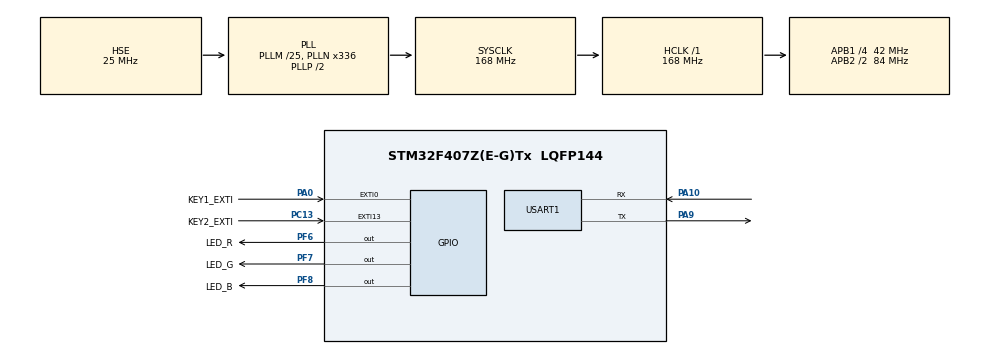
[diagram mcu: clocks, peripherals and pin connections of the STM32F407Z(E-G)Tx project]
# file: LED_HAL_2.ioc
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Mcu.Family=STM32F4
Mcu.Name=STM32F407Z(E-G)Tx
Mcu.Package=LQFP144
NVIC.EXTI0_IRQn=true\:12\:0\:true\:false\:true\:true\:true\:true
NVIC.EXTI15_10_IRQn=true\:11\:0\:true\:false\:true\:true\:true\:true
NVIC.PriorityGroup=NVIC_PRIORITYGROUP_4
NVIC.TIM6_DAC_IRQn=true\:14\:0\:true\:false\:true\:true\:true\:true
NVIC.USART1_IRQn=true\:13\:0\:true\:false\:true\:true\:true\:true
PA0-WKUP.GPIO_Label=KEY1_EXTI
PA0-WKUP.GPIO_ModeDefaultEXTI=GPIO_MODE_IT_RISING
PA0-WKUP.Signal=GPXTI0
PA10.GPIO_PuPd=GPIO_PULLUP
PA10.Mode=Asynchronous
PA10.Signal=USART1_RX
PA13.Mode=Serial_Wire
PA13.Signal=SYS_JTMS-SWDIO
PA14.Mode=Serial_Wire
PA14.Signal=SYS_JTCK-SWCLK
PA9.GPIO_PuPd=GPIO_PULLUP
PA9.Mode=Asynchronous
PA9.Signal=USART1_TX
PC13-ANTI_TAMP.GPIO_Label=KEY2_EXTI
PC13-ANTI_TAMP.Signal=GPXTI13
PF6.GPIO_Label=LED_R
PF6.GPIO_ModeDefaultOutputPP=GPIO_MODE_OUTPUT_OD
PF6.GPIO_PuPd=GPIO_NOPULL
PF6.Signal=GPIO_Output
PF7.GPIO_Label=LED_G
PF7.GPIO_ModeDefaultOutputPP=GPIO_MODE_OUTPUT_OD
PF7.GPIO_PuPd=GPIO_NOPULL
PF7.Signal=GPIO_Output
PF8.GPIO_Label=LED_B
PF8.GPIO_ModeDefaultOutputPP=GPIO_MODE_OUTPUT_OD
PF8.GPIO_PuPd=GPIO_NOPULL
PF8.Signal=GPIO_Output
PH0-OSC_IN.Mode=HSE-External-Oscillator
PH0-OSC_IN.Signal=RCC_OSC_IN
PH1-OSC_OUT.Mode=HSE-External-Oscillator
PH1-OSC_OUT.Signal=RCC_OSC_OUT
ProjectManager.HeapSize=0x200
ProjectManager.StackSize=0x400
ProjectManager.TargetToolchain=MDK-ARM V5.32
RCC.48MHZClocksFreq_Value=84000000
RCC.AHBFreq_Value=168000000
RCC.APB1CLKDivider=RCC_HCLK_DIV4
RCC.APB1Freq_Value=42000000
RCC.APB1TimFreq_Value=84000000
RCC.APB2CLKDivider=RCC_HCLK_DIV2
RCC.APB2Freq_Value=84000000
RCC.APB2TimFreq_Value=168000000
RCC.CortexFreq_Value=168000000
RCC.HCLKFreq_Value=168000000
RCC.HSE_VALUE=25000000
RCC.HSI_VALUE=16000000
RCC.LSE_VALUE=32768
RCC.PLLM=25
RCC.PLLN=336
RCC.PLLSourceVirtual=RCC_PLLSOURCE_HSE
RCC.SYSCLKFreq_VALUE=168000000
RCC.SYSCLKSource=RCC_SYSCLKSOURCE_PLLCLK
RCC.VCOOutputFreq_Value=336000000
TIM6.Period=5000-1
TIM6.Prescaler=8400-1
USART1.VirtualMode=VM_ASYNC
VP_TIM6_VS_ClockSourceINT.Mode=Enable_Timer
board=custom

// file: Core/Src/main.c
/* USER CODE BEGIN Header */
/**
  ******************************************************************************
  * @file           : main.c
  * @brief          : Main program body
  ******************************************************************************
  * @attention
  *
  * Copyright (c) 2023 STMicroelectronics.
  * All rights reserved.
  *
  * This software is licensed under terms that can be found in the LICENSE file
  * in the root directory of this software component.
  * If no LICENSE file comes with this software, it is provided AS-IS.
  *
  ******************************************************************************
  */
/* USER CODE END Header */
#include "main.h"
#include "tim.h"
#include "usart.h"
#include "gpio.h"

/* USER CODE BEGIN PV */
uint8_t *TxBuffer;
//uint8_t Buffer[10];
//uint8_t ReBuffer[10];
//uint8_t ch;
extern uint8_t aRxBuffer;	//��������
extern char RxBuffer[RXBUFFERSIZE];
/* USER CODE END PV */

void SystemClock_Config(void);

int main(void)
{

  /* MCU Configuration--------------------------------------------------------*/

  /* Reset of all peripherals, Initializes the Flash interface and the Systick. */
  HAL_Init();

  /* Configure the system clock */
  SystemClock_Config();

  /* Initialize all configured peripherals */
  MX_GPIO_Init();
  MX_USART1_UART_Init();
  MX_TIM6_Init();
  /* USER CODE BEGIN 2 */
//	HAL_UART_Receive_IT(&huart1, (uint8_t *)Buffer, 10);
	HAL_UART_Receive_IT(&huart1, (uint8_t *)&aRxBuffer, 1);
	HAL_TIM_Base_Start_IT(&htim6);

  /* USER CODE END 2 */

  /* Infinite loop */
  /* USER CODE BEGIN WHILE */
  while (1)
  {
//			Usart_SendString((uint8_t *)ch);
//		Usart1_SendBuffer(ReBuffer, 10);
//		printf("%d",*RxBuffer);
//
//		HAL_Delay(1000);
    /* USER CODE END WHILE */

  }
}

void SystemClock_Config(void)
{
  RCC_OscInitTypeDef RCC_OscInitStruct = {0};
  RCC_ClkInitTypeDef RCC_ClkInitStruct = {0};

  /** Configure the main internal regulator output voltage
  */
  __HAL_RCC_PWR_CLK_ENABLE();
  __HAL_PWR_VOLTAGESCALING_CONFIG(PWR_REGULATOR_VOLTAGE_SCALE1);

  /** Initializes the RCC Oscillators according to the specified parameters
  * in the RCC_OscInitTypeDef structure.
  */
  RCC_OscInitStruct.OscillatorType = RCC_OSCILLATORTYPE_HSE;
  RCC_OscInitStruct.HSEState = RCC_HSE_ON;
  RCC_OscInitStruct.PLL.PLLState = RCC_PLL_ON;
  RCC_OscInitStruct.PLL.PLLSource = RCC_PLLSOURCE_HSE;
  RCC_OscInitStruct.PLL.PLLM = 25;
  RCC_OscInitStruct.PLL.PLLN = 336;
  RCC_OscInitStruct.PLL.PLLP = RCC_PLLP_DIV2;
  RCC_OscInitStruct.PLL.PLLQ = 4;
  if (HAL_RCC_OscConfig(&RCC_OscInitStruct) != HAL_OK)
  {
    Error_Handler();
  }

  /** Initializes the CPU, AHB and APB buses clocks
  */
  RCC_ClkInitStruct.ClockType = RCC_CLOCKTYPE_HCLK|RCC_CLOCKTYPE_SYSCLK
                              |RCC_CLOCKTYPE_PCLK1|RCC_CLOCKTYPE_PCLK2;
  RCC_ClkInitStruct.SYSCLKSource = RCC_SYSCLKSOURCE_PLLCLK;
  RCC_ClkInitStruct.AHBCLKDivider = RCC_SYSCLK_DIV1;
  RCC_ClkInitStruct.APB1CLKDivider = RCC_HCLK_DIV4;
  RCC_ClkInitStruct.APB2CLKDivider = RCC_HCLK_DIV2;

  if (HAL_RCC_ClockConfig(&RCC_ClkInitStruct, FLASH_LATENCY_5) != HAL_OK)
  {
    Error_Handler();
  }
}

/* USER CODE BEGIN 4 */
void HAL_GPIO_EXTI_Callback(uint16_t GPIO_Pin)
{

		if (GPIO_Pin==KEY1_EXTI_Pin)
		{
			LED_R_OFF;
			LED_B_OFF;
			LED_G_Toggle;
			TxBuffer="key1";
			Usart_SendString(TxBuffer);
		}
		if (GPIO_Pin==KEY2_EXTI_Pin)
		{
			LED_R_OFF;
			LED_G_OFF;
			LED_B_Toggle;
			TxBuffer="key2";
			Usart_SendString(TxBuffer);
		}

}
/* USER CODE END 4 */

void Error_Handler(void)
{
  __disable_irq();
  while (1)
  {
  }
}
